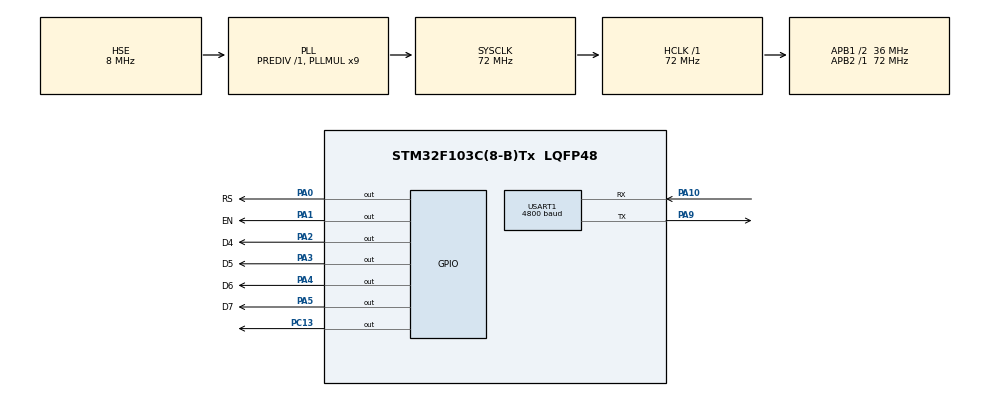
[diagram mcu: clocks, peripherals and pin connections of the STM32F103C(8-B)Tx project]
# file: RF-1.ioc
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Mcu.Family=STM32F1
Mcu.Name=STM32F103C(8-B)Tx
Mcu.Package=LQFP48
NVIC.PriorityGroup=NVIC_PRIORITYGROUP_4
NVIC.TIM4_IRQn=true\:0\:0\:false\:false\:true\:false
NVIC.TimeBase=TIM4_IRQn
NVIC.TimeBaseIP=TIM4
NVIC.USART1_IRQn=true\:0\:0\:false\:false\:true\:true
PA0-WKUP.GPIO_Label=RS
PA0-WKUP.GPIO_Speed=GPIO_SPEED_FREQ_MEDIUM
PA0-WKUP.Signal=GPIO_Output
PA1.GPIO_Label=EN
PA1.GPIO_Speed=GPIO_SPEED_FREQ_MEDIUM
PA1.Signal=GPIO_Output
PA10.Mode=Asynchronous
PA10.Signal=USART1_RX
PA13.Mode=Serial_Wire
PA13.Signal=SYS_JTMS-SWDIO
PA14.Mode=Serial_Wire
PA14.Signal=SYS_JTCK-SWCLK
PA2.GPIO_Label=D4
PA2.GPIO_Speed=GPIO_SPEED_FREQ_MEDIUM
PA2.Signal=GPIO_Output
PA3.GPIO_Label=D5
PA3.GPIO_Speed=GPIO_SPEED_FREQ_MEDIUM
PA3.Signal=GPIO_Output
PA4.GPIO_Label=D6
PA4.GPIO_Speed=GPIO_SPEED_FREQ_MEDIUM
PA4.Signal=GPIO_Output
PA5.GPIO_Label=D7
PA5.GPIO_Speed=GPIO_SPEED_FREQ_MEDIUM
PA5.Signal=GPIO_Output
PA9.Mode=Asynchronous
PA9.Signal=USART1_TX
PC13-TAMPER-RTC.GPIO_Speed=GPIO_SPEED_FREQ_LOW
PC13-TAMPER-RTC.Signal=GPIO_Output
PD0-OSC_IN.Mode=HSE-External-Oscillator
PD0-OSC_IN.Signal=RCC_OSC_IN
PD1-OSC_OUT.Mode=HSE-External-Oscillator
PD1-OSC_OUT.Signal=RCC_OSC_OUT
ProjectManager.HeapSize=0x200
ProjectManager.StackSize=0x400
ProjectManager.TargetToolchain=MDK-ARM V5
RCC.AHBFreq_Value=72000000
RCC.APB1CLKDivider=RCC_HCLK_DIV2
RCC.APB1Freq_Value=36000000
RCC.APB1TimFreq_Value=72000000
RCC.APB2Freq_Value=72000000
RCC.APB2TimFreq_Value=72000000
RCC.HCLKFreq_Value=72000000
RCC.PLLMUL=RCC_PLL_MUL9
RCC.PLLSourceVirtual=RCC_PLLSOURCE_HSE
RCC.SYSCLKFreq_VALUE=72000000
RCC.SYSCLKSource=RCC_SYSCLKSOURCE_PLLCLK
RCC.USBFreq_Value=72000000
USART1.BaudRate=4800
USART1.VirtualMode=VM_ASYNC
VP_SYS_VS_tim4.Mode=TIM4
board=custom

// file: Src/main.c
/**
  ******************************************************************************
  * @file           : main.c
  * @brief          : Main program body
  ******************************************************************************
  ** This notice applies to any and all portions of this file
  * that are not between comment pairs USER CODE BEGIN and
  * USER CODE END. Other portions of this file, whether
  * inserted by the user or by software development tools
  * are owned by their respective copyright owners.
  *
  * COPYRIGHT(c) 2019 STMicroelectronics
  *
  * Redistribution and use in source and binary forms, with or without modification,
  * are permitted provided that the following conditions are met:
  *   1. Redistributions of source code must retain the above copyright notice,
  *      this list of conditions and the following disclaimer.
  *   2. Redistributions in binary form must reproduce the above copyright notice,
  *      this list of conditions and the following disclaimer in the documentation
  *      and/or other materials provided with the distribution.
  *   3. Neither the name of STMicroelectronics nor the names of its contributors
  *      may be used to endorse or promote products derived from this software
  *      without specific prior written permission.
  *
  * THIS SOFTWARE IS PROVIDED BY THE COPYRIGHT HOLDERS AND CONTRIBUTORS "AS IS"
  * AND ANY EXPRESS OR IMPLIED WARRANTIES, INCLUDING, BUT NOT LIMITED TO, THE
  * IMPLIED WARRANTIES OF MERCHANTABILITY AND FITNESS FOR A PARTICULAR PURPOSE ARE
  * DISCLAIMED. IN NO EVENT SHALL THE COPYRIGHT HOLDER OR CONTRIBUTORS BE LIABLE
  * FOR ANY DIRECT, INDIRECT, INCIDENTAL, SPECIAL, EXEMPLARY, OR CONSEQUENTIAL
  * DAMAGES (INCLUDING, BUT NOT LIMITED TO, PROCUREMENT OF SUBSTITUTE GOODS OR
  * SERVICES; LOSS OF USE, DATA, OR PROFITS; OR BUSINESS INTERRUPTION) HOWEVER
  * CAUSED AND ON ANY THEORY OF LIABILITY, WHETHER IN CONTRACT, STRICT LIABILITY,
  * OR TORT (INCLUDING NEGLIGENCE OR OTHERWISE) ARISING IN ANY WAY OUT OF THE USE
  * OF THIS SOFTWARE, EVEN IF ADVISED OF THE POSSIBILITY OF SUCH DAMAGE.
  *
  ******************************************************************************
  */
#include "main.h"
#include "stm32f1xx_hal.h"

/* USER CODE BEGIN Includes */
#include "string.h"

/* USER CODE END Includes */

UART_HandleTypeDef huart1;

/* USER CODE BEGIN PV */
/* Private variables ---------------------------------------------------------*/

/* USER CODE END PV */

void SystemClock_Config(void);
static void MX_GPIO_Init(void);
static void MX_USART1_UART_Init(void);

/* USER CODE BEGIN PFP */
/* Private function prototypes -----------------------------------------------*/

/* USER CODE END PFP */

/* USER CODE BEGIN 0 */

unsigned char data[1];
char t_str[30];
int xx =2;

/* USER CODE END 0 */

int main(void)
{

  /* MCU Configuration----------------------------------------------------------*/

  /* Reset of all peripherals, Initializes the Flash interface and the Systick. */
  HAL_Init();

  /* Configure the system clock */
  SystemClock_Config();

  /* Initialize all configured peripherals */
  MX_GPIO_Init();
  MX_USART1_UART_Init();
  /* USER CODE BEGIN 2 */

	HAL_GPIO_WritePin(GPIOC,GPIO_PIN_13,GPIO_PIN_RESET);
		HAL_Delay(1000);
 	HAL_GPIO_WritePin(GPIOC,GPIO_PIN_13,GPIO_PIN_SET);
		HAL_Delay(1000);

HAL_UART_Receive_IT(&huart1,data,1);

  /* USER CODE END 2 */

  /* Infinite loop */
  while (1)
  {

  /* USER CODE BEGIN 3 */
switch (xx){
	case 0:
		HAL_GPIO_WritePin(GPIOC,GPIO_PIN_13,GPIO_PIN_SET);
	break;
	case 1:
		HAL_GPIO_WritePin(GPIOC,GPIO_PIN_13,GPIO_PIN_RESET);
	break;
	case 2:
		HAL_GPIO_TogglePin(GPIOC,GPIO_PIN_13);
		HAL_Delay(100);
	break;

}

  }
  /* USER CODE END 3 */

}

void SystemClock_Config(void)
{

  RCC_OscInitTypeDef RCC_OscInitStruct;
  RCC_ClkInitTypeDef RCC_ClkInitStruct;

    /**Initializes the CPU, AHB and APB busses clocks
    */
  RCC_OscInitStruct.OscillatorType = RCC_OSCILLATORTYPE_HSE;
  RCC_OscInitStruct.HSEState = RCC_HSE_ON;
  RCC_OscInitStruct.HSEPredivValue = RCC_HSE_PREDIV_DIV1;
  RCC_OscInitStruct.HSIState = RCC_HSI_ON;
  RCC_OscInitStruct.PLL.PLLState = RCC_PLL_ON;
  RCC_OscInitStruct.PLL.PLLSource = RCC_PLLSOURCE_HSE;
  RCC_OscInitStruct.PLL.PLLMUL = RCC_PLL_MUL9;
  if (HAL_RCC_OscConfig(&RCC_OscInitStruct) != HAL_OK)
  {
    _Error_Handler(__FILE__, __LINE__);
  }

    /**Initializes the CPU, AHB and APB busses clocks
    */
  RCC_ClkInitStruct.ClockType = RCC_CLOCKTYPE_HCLK|RCC_CLOCKTYPE_SYSCLK
                              |RCC_CLOCKTYPE_PCLK1|RCC_CLOCKTYPE_PCLK2;
  RCC_ClkInitStruct.SYSCLKSource = RCC_SYSCLKSOURCE_PLLCLK;
  RCC_ClkInitStruct.AHBCLKDivider = RCC_SYSCLK_DIV1;
  RCC_ClkInitStruct.APB1CLKDivider = RCC_HCLK_DIV2;
  RCC_ClkInitStruct.APB2CLKDivider = RCC_HCLK_DIV1;

  if (HAL_RCC_ClockConfig(&RCC_ClkInitStruct, FLASH_LATENCY_2) != HAL_OK)
  {
    _Error_Handler(__FILE__, __LINE__);
  }

    /**Configure the Systick interrupt time
    */
  HAL_SYSTICK_Config(HAL_RCC_GetHCLKFreq()/1000);

    /**Configure the Systick
    */
  HAL_SYSTICK_CLKSourceConfig(SYSTICK_CLKSOURCE_HCLK);

  /* SysTick_IRQn interrupt configuration */
  HAL_NVIC_SetPriority(SysTick_IRQn, 0, 0);
}

/* USART1 init function */
static void MX_USART1_UART_Init(void)
{

  huart1.Instance = USART1;
  huart1.Init.BaudRate = 4800;
  huart1.Init.WordLength = UART_WORDLENGTH_8B;
  huart1.Init.StopBits = UART_STOPBITS_1;
  huart1.Init.Parity = UART_PARITY_NONE;
  huart1.Init.Mode = UART_MODE_TX_RX;
  huart1.Init.HwFlowCtl = UART_HWCONTROL_NONE;
  huart1.Init.OverSampling = UART_OVERSAMPLING_16;
  if (HAL_UART_Init(&huart1) != HAL_OK)
  {
    _Error_Handler(__FILE__, __LINE__);
  }

}

/** Configure pins as
        * Analog
        * Input
        * Output
        * EVENT_OUT
        * EXTI
*/
static void MX_GPIO_Init(void)
{

  GPIO_InitTypeDef GPIO_InitStruct;

  /* GPIO Ports Clock Enable */
  __HAL_RCC_GPIOC_CLK_ENABLE();
  __HAL_RCC_GPIOD_CLK_ENABLE();
  __HAL_RCC_GPIOA_CLK_ENABLE();

  /*Configure GPIO pin Output Level */
  HAL_GPIO_WritePin(GPIOC, GPIO_PIN_13, GPIO_PIN_RESET);

  /*Configure GPIO pin Output Level */
  HAL_GPIO_WritePin(GPIOA, RS_Pin|EN_Pin|D4_Pin|D5_Pin
                          |D6_Pin|D7_Pin, GPIO_PIN_RESET);

  /*Configure GPIO pin : PC13 */
  GPIO_InitStruct.Pin = GPIO_PIN_13;
  GPIO_InitStruct.Mode = GPIO_MODE_OUTPUT_PP;
  GPIO_InitStruct.Pull = GPIO_NOPULL;
  GPIO_InitStruct.Speed = GPIO_SPEED_FREQ_LOW;
  HAL_GPIO_Init(GPIOC, &GPIO_InitStruct);

  /*Configure GPIO pins : RS_Pin EN_Pin D4_Pin D5_Pin
                           D6_Pin D7_Pin */
  GPIO_InitStruct.Pin = RS_Pin|EN_Pin|D4_Pin|D5_Pin
                          |D6_Pin|D7_Pin;
  GPIO_InitStruct.Mode = GPIO_MODE_OUTPUT_PP;
  GPIO_InitStruct.Pull = GPIO_NOPULL;
  GPIO_InitStruct.Speed = GPIO_SPEED_FREQ_MEDIUM;
  HAL_GPIO_Init(GPIOA, &GPIO_InitStruct);

}

/* USER CODE BEGIN 4 */

void HAL_UART_RxCpltCallback(UART_HandleTypeDef *huart)
{

	sprintf(t_str, "--%c--\n",data[0]);
	HAL_UART_Transmit(&huart1,(unsigned char*)t_str,strlen(t_str),100);

	switch (data[0]){
	case 'a':
		xx=0;
	break;
	case 'b':
		xx=1;
	break;
	case 'c':
		xx=2;
	break;

	}

	HAL_UART_Receive_IT(&huart1,data,1);

}

/* USER CODE END 4 */

void HAL_TIM_PeriodElapsedCallback(TIM_HandleTypeDef *htim)
{
  if (htim->Instance == TIM4) {
    HAL_IncTick();
  }
}

void _Error_Handler(char *file, int line)
{
  while(1)
  {
  }
}

/************************ (C) COPYRIGHT STMicroelectronics *****END OF FILE****/
